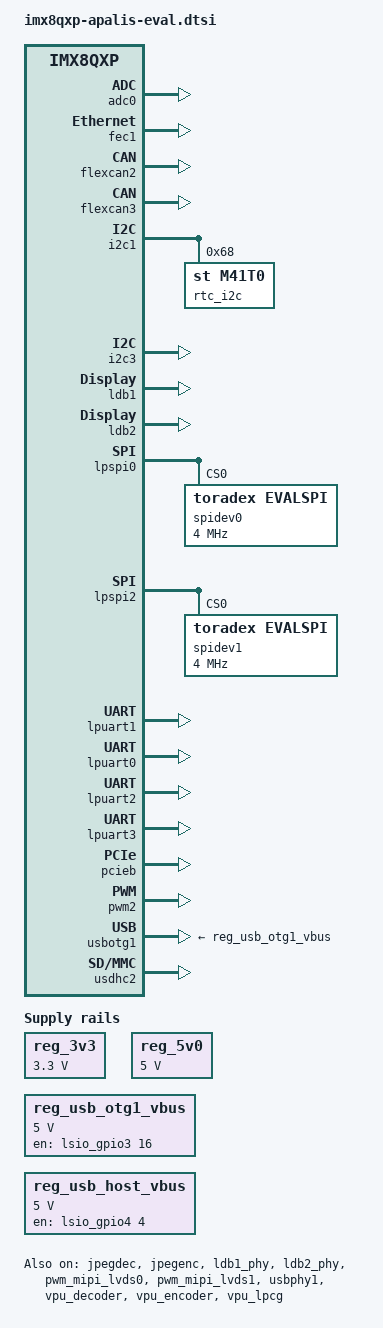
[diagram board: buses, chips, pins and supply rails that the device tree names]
// SPDX-License-Identifier: GPL-2.0+ OR X11
/*
 * Copyright 2019 Toradex
 */

/ {
	aliases {
		rtc0 = &rtc_i2c;
		rtc1 = &rtc;
	};

	reg_3v3: regulator-3v3 {
		compatible = "regulator-fixed";
		regulator-name = "3.3V";
		regulator-min-microvolt = <3300000>;
		regulator-max-microvolt = <3300000>;
	};

	reg_5v0: regulator-5v0 {
		compatible = "regulator-fixed";
		regulator-name = "5V";
		regulator-min-microvolt = <5000000>;
		regulator-max-microvolt = <5000000>;
	};

	reg_usb_otg1_vbus: regulator@0 {
		compatible = "regulator-fixed";
		pinctrl-names = "default";
		pinctrl-0 = <&pinctrl_usbo1_en>;
		regulator-name = "usb_otg1_vbus";
		regulator-min-microvolt = <5000000>;
		regulator-max-microvolt = <5000000>;
		enable-active-high;
		/* Apalis USBO1_EN */
		gpio = <&lsio_gpio3 16 GPIO_ACTIVE_HIGH>;
	};

	/* The Cadence,usb3 driver doesn't support the vbus regulator for now.
	 * Add regulator-always-on to keep the USBH_EN signal up.
	 */
	reg_usb_host_vbus: regulator-usb-host-vbus {
		compatible = "regulator-fixed";
		enable-active-high;
		pinctrl-names = "default";
		pinctrl-0 = <&pinctrl_usbh_en>;
		regulator-always-on;
		regulator-name = "usb_host_vbus_hub";
		regulator-min-microvolt = <5000000>;
		regulator-max-microvolt = <5000000>;
		/* Apalis USBH_EN */
		gpio = <&lsio_gpio4 4 GPIO_ACTIVE_HIGH>;
	};
};

/* Apalis Analogue Inputs */
&adc0 {
	status = "okay";
};

/* Apalis Gigabit Ethernet */
&fec1 {
	status = "okay";
};

/* Apalis CAN1 */
&flexcan2 {
	/* define the following property to disable CAN-FD mode */
	/* disable-fd-mode; */
	status = "okay";
};

/* Apalis CAN2 */
&flexcan3 {
	/* define the following property to disable CAN-FD mode */
	/* disable-fd-mode; */
	status = "okay";
};

/* Apalis I2C1 */
&i2c1 {
	status = "okay";

	/* M41T0M6 real time clock on carrier board */
	rtc_i2c: rtc@68 {
		compatible = "st,m41t0";
		reg = <0x68>;
	};
};

/* Apalis I2C3 (CAM) */
&i2c3 {
	status = "okay";
};

&jpegdec {
	status = "okay";
};

&jpegenc {
	status = "okay";
};

&ldb1 {
	status = "okay";
};

&ldb1_phy {
	status = "okay";
};

&ldb2 {
	status = "okay";
};

&ldb2_phy {
	status = "okay";
};

/* Apalis SPI1 */
&lpspi0 {
	status = "okay";

	spidev0: spi@0 {
		compatible = "toradex,evalspi";
		reg = <0>;
		spi-max-frequency = <4000000>;
	};
};

/* Apalis SPI2 */
&lpspi2 {
	status = "okay";

	spidev1: spi@0 {
		compatible = "toradex,evalspi";
		reg = <0>;
		spi-max-frequency = <4000000>;
	};
};

/* Apalis UART1 */
&lpuart1 {
	status = "okay";
};

/* Apalis UART2 */
&lpuart0 {
	status = "okay";
};

/* Apalis UART3 */
&lpuart2 {
	status = "okay";
};

/* Apalis UART4 */
&lpuart3 {
	status = "okay";
};

&lsio_gpio1 {
	/**
	 * Add GPIO1_26 as a wakeup source:
	 * Pin:  SC_P_MIPI_DSI0_I2C0_SDA (MXM3_37)
	 * Type: SC_PAD_WAKEUP_FALL_EDGE
	 * Line: GPIO1_IO26
	 */
	pad-wakeup = <117 5 26>;
	pad-wakeup-num = <1>;
};

/* Apalis PCIE1 */
&pcieb {
	status = "okay";
};

/* Apalis PWM2 */
&pwm_mipi_lvds0 {
	status = "okay";
};

/* Apalis BKL1_PWM */
&pwm_mipi_lvds1 {
	status = "okay";
};

/* Apalis PWM1 */
&pwm2 {
	status = "okay";
};

/* Apalis USBO1 */
&usbotg1 {
	adp-disable;
	ci-disable-lpm;
	hnp-disable;
	over-current-active-low;
	srp-disable;
	status = "okay";
	vbus-supply = <&reg_usb_otg1_vbus>;
};

&usbphy1 {
	status = "okay";
};

/* Apalis MMC1 */
&usdhc2 {
	status = "okay";
};

&vpu_decoder {
	status = "okay";
};

&vpu_encoder {
	status = "okay";
};

&vpu_lpcg {
	status = "okay";
};
